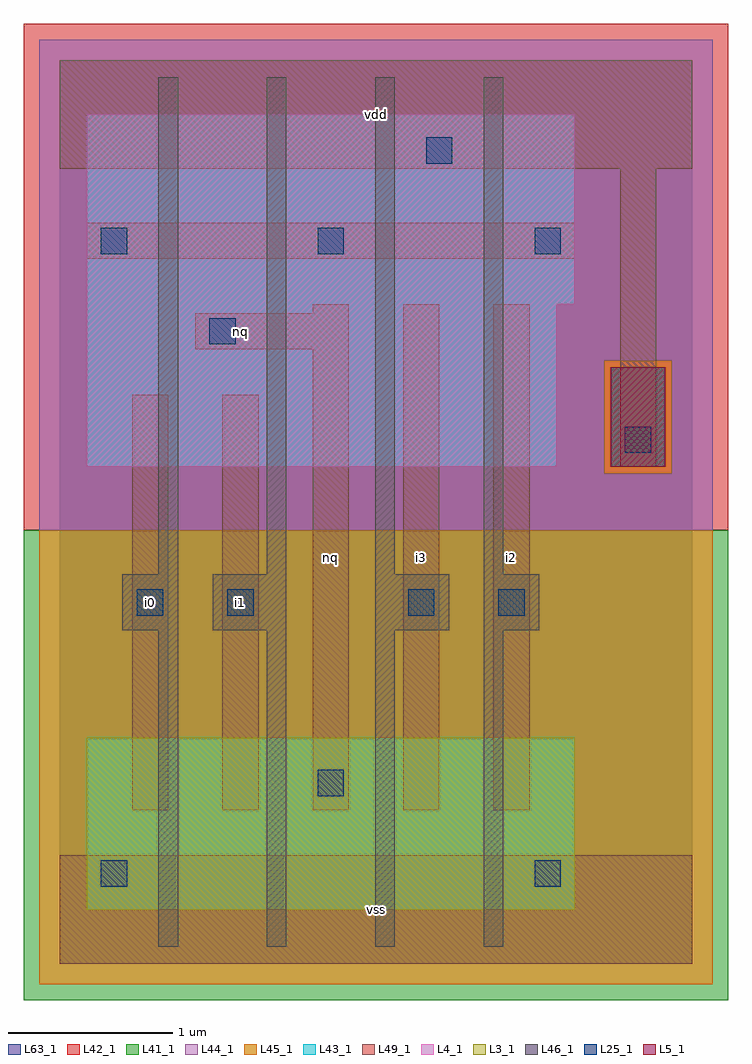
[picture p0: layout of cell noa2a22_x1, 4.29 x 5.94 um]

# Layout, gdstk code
import gdstk
lib = gdstk.Library(unit=1e-6, precision=1e-09)
def R(c, l, rs):  # rectangles x0, y0, x1, y1
    for r in rs: c.add(gdstk.rectangle(r[:2], r[2:], *l))
def A(c, l, x, y, w, h, nx, ny, dx, dy):  # array of equal rectangles
    R(c, l, [(x+i*dx, y+j*dy, x+i*dx+w, y+j*dy+h) for i in range(nx) for j in range(ny)])
L3_1 = (3, 1)
L4_1 = (4, 1)
L5_1 = (5, 1)
L25_1 = (25, 1)
L41_1 = (41, 1)
L42_1 = (42, 1)
L43_1 = (43, 1)
L44_1 = (44, 1)
L45_1 = (45, 1)
L46_1 = (46, 1)
L49_1 = (49, 1)
L63_1 = (63, 1)

noa2a22_x1 = lib.new_cell('noa2a22_x1')
R(noa2a22_x1, L3_1, [(0.165,0.33,3.135,1.375)])
R(noa2a22_x1, L4_1, [(0.165,3.025,3.025,4.015), (0.165,4.015,3.135,5.17)])
R(noa2a22_x1, L5_1, [(3.355,3.025,3.685,3.63)])
A(noa2a22_x1, L25_1, 0.25, 4.32, 0.16, 0.16, 3, 1, 1.32, 0)
R(noa2a22_x1, L25_1, [(0.25,0.47,0.41,0.63), (2.89,0.47,3.05,0.63), (1.57,1.02,1.73,1.18), (0.47,2.12,0.63,2.28), (1.02,2.12,1.18,2.28), (2.12,2.12,2.28,2.28), (2.67,2.12,2.83,2.28), (3.44,3.11,3.6,3.27), (0.91,3.77,1.07,3.93), (2.23,4.87,2.39,5.03)])
R(noa2a22_x1, L41_1, [(-0.22,-0.22,4.07,2.64)])
R(noa2a22_x1, L42_1, [(-0.22,2.64,4.07,5.72)])
R(noa2a22_x1, L43_1, [(0.165,0.33,3.135,1.375), (0.165,3.025,3.025,4.015), (3.355,3.025,3.685,3.63), (0.165,4.015,3.135,5.17)])
R(noa2a22_x1, L44_1, [(-0.125,2.64,3.975,2.985), (-0.125,2.985,3.315,3.67), (3.725,2.985,3.975,3.67), (-0.125,3.67,3.975,5.625)])
R(noa2a22_x1, L45_1, [(-0.125,-0.125,3.975,2.64), (3.315,2.985,3.725,3.67)])
A(noa2a22_x1, L46_1, 0.6, 0.105, 0.12, 1.925, 4, 1, 0.66, 0)
A(noa2a22_x1, L46_1, 0.6, 2.37, 0.12, 3.025, 4, 1, 0.66, 0)
R(noa2a22_x1, L46_1, [(0.38,2.03,0.72,2.37), (0.93,2.03,1.38,2.37), (1.92,2.03,2.37,2.37), (2.58,2.03,2.92,2.37)])
R(noa2a22_x1, L49_1, [(0,0,3.85,0.66), (0.44,0.935,0.66,3.465), (0.99,0.935,1.21,3.465), (1.54,0.935,1.76,3.74), (2.09,0.935,2.31,4.015), (2.64,0.935,2.86,4.015), (3.41,3.025,3.63,4.84), (0.825,3.74,1.76,3.96), (1.54,3.96,1.76,4.015), (0.165,4.29,3.135,4.51), (0,4.84,3.85,5.5)])
R(noa2a22_x1, L63_1, [(0,0,3.85,5.5)])
noa2a22_x1.add(gdstk.Label('i0', (0.55,2.2), layer=49, texttype=1))
noa2a22_x1.add(gdstk.Label('i1', (1.1,2.2), layer=49, texttype=1))
noa2a22_x1.add(gdstk.Label('nq', (1.65,2.475), layer=49, texttype=1))
noa2a22_x1.add(gdstk.Label('nq', (1.1,3.85), layer=49, texttype=1))
noa2a22_x1.add(gdstk.Label('vss', (1.925,0.33), layer=49, texttype=1))
noa2a22_x1.add(gdstk.Label('i2', (2.75,2.475), layer=49, texttype=1))
noa2a22_x1.add(gdstk.Label('i3', (2.2,2.475), layer=49, texttype=1))
noa2a22_x1.add(gdstk.Label('vdd', (1.925,5.17), layer=49, texttype=1))

lib.write_gds('noa2a22_x1.gds')
